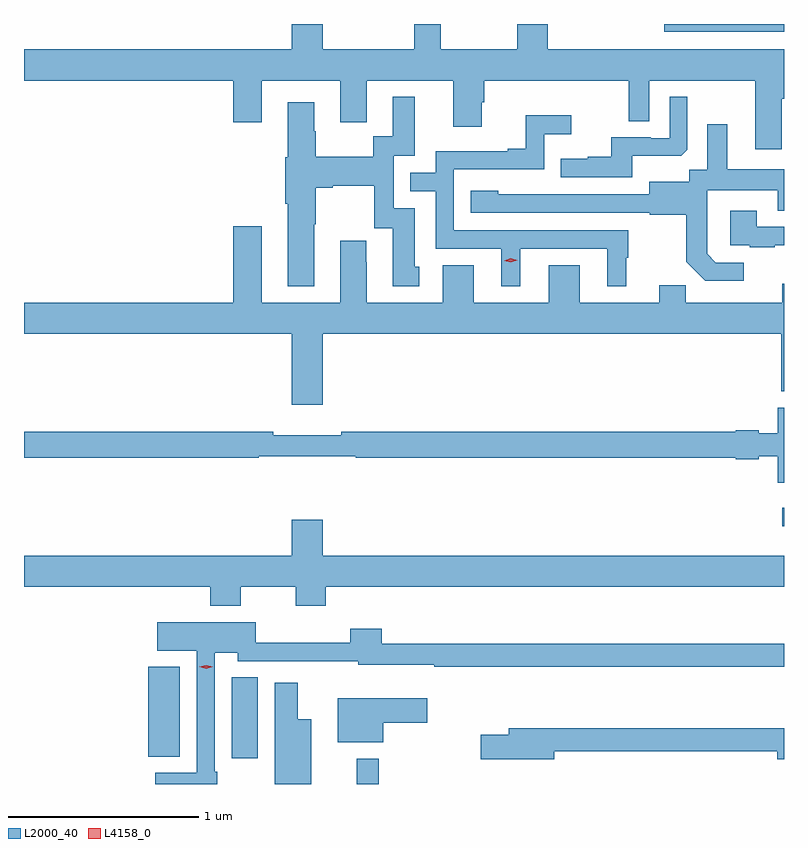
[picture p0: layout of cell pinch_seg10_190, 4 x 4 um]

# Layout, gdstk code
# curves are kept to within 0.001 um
import gdstk
lib = gdstk.Library(unit=1e-6, precision=1e-09)
def R(c, l, rs):  # rectangles x0, y0, x1, y1
    for r in rs: c.add(gdstk.rectangle(r[:2], r[2:], *l))
def P(c, l, *ps):  # polygons
    for p in ps: c.add(gdstk.Polygon(p, *l))
L2000_40 = (2000, 40)
L4158_0 = (4158, 0)

pinch_seg10_190 = lib.new_cell('pinch_seg10_190')
R(pinch_seg10_190, L2000_40, [(728.785,1255.322,728.903,1255.456), (728.129,1255.458,728.266,1255.883), (727.688,1255.465,727.855,1255.939), (731.025,1256.678,731.035,1256.776), (730.405,1259.28,731.035,1259.322)])
P(pinch_seg10_190, L2000_40, [(731.023,1258.928),(731.035,1258.928),(731.035,1259.188),(729.791,1259.188),(729.791,1259.322),(729.631,1259.322),(729.631,1259.188),(729.229,1259.188),(729.229,1259.322),(729.089,1259.322),(729.089,1259.188),(728.608,1259.188),(728.608,1259.322),(728.444,1259.322),(728.444,1259.188),(727.035,1259.188),(727.035,1259.024),(728.135,1259.024),(728.135,1258.806),(728.287,1258.806),(728.287,1259.024),(728.699,1259.024),(728.699,1258.806),(728.839,1258.806),(728.839,1259.024),(729.293,1259.024),(729.293,1258.782),(729.445,1258.782),(729.445,1258.911),(729.458,1258.911),(729.458,1259.024),(730.218,1259.024),(730.218,1258.81),(730.326,1258.81),(730.326,1259.024),(730.883,1259.024),(730.883,1258.662),(731.023,1258.662)],
  [(728.563,1258.267),(728.571,1258.267),(728.571,1258.46),(728.659,1258.46),(728.659,1258.472),(728.879,1258.472),(728.879,1258.248),(728.975,1258.248),(728.975,1257.942),(729.115,1257.942),(729.115,1258.044),(729.091,1258.044),(729.091,1258.353),(728.982,1258.353),(728.982,1258.629),(729.091,1258.629),(729.091,1258.939),(728.975,1258.939),(728.975,1258.73),(728.874,1258.73),(728.874,1258.624),(728.571,1258.624),(728.571,1258.758),(728.563,1258.758),(728.563,1258.909),(728.423,1258.909),(728.423,1258.62),(728.411,1258.62),(728.411,1258.376),(728.423,1258.376),(728.423,1257.941),(728.563,1257.941)],
  [(730.237,1258.628),(730.495,1258.628),(730.527,1258.659),(730.527,1258.939),(730.434,1258.939),(730.434,1258.722),(730.334,1258.722),(730.334,1258.725),(730.127,1258.725),(730.127,1258.624),(730.003,1258.624),(730.003,1258.612),(729.859,1258.612),(729.859,1258.515),(730.237,1258.515)],
  [(729.646,1258.14),(730.106,1258.14),(730.106,1257.941),(730.204,1257.941),(730.204,1258.092),(730.216,1258.092),(730.216,1258.236),(729.297,1258.236),(729.297,1258.557),(729.774,1258.557),(729.774,1258.742),(729.916,1258.742),(729.916,1258.841),(729.676,1258.841),(729.676,1258.666),(729.581,1258.666),(729.581,1258.653),(729.201,1258.653),(729.201,1258.539),(729.067,1258.539),(729.067,1258.443),(729.201,1258.443),(729.201,1258.14),(729.548,1258.14),(729.548,1257.941),(729.646,1257.941)],
  [(730.822,1258.065),(730.677,1258.065),(730.63,1258.112),(730.63,1258.207),(730.632,1258.207),(730.632,1258.448),(731.003,1258.448),(731.003,1258.339),(731.035,1258.339),(731.035,1258.558),(730.735,1258.558),(730.735,1258.795),(730.631,1258.795),(730.631,1258.556),(730.536,1258.556),(730.536,1258.492),(730.325,1258.492),(730.325,1258.425),(729.531,1258.426),(729.531,1258.444),(729.387,1258.444),(729.387,1258.329),(730.329,1258.329),(730.329,1258.317),(730.521,1258.317),(730.521,1258.071),(730.621,1257.971),(730.822,1257.971)],
  [(730.987,1258.157),(731.035,1258.157),(731.035,1258.254),(730.891,1258.254),(730.891,1258.339),(730.751,1258.339),(730.751,1258.158),(730.855,1258.158),(730.855,1258.146),(730.987,1258.146)],
  [(728.135,1258.258),(728.135,1257.856),(727.035,1257.856),(727.035,1257.692),(728.444,1257.692),(728.444,1257.318),(728.608,1257.318),(728.608,1257.692),(731.021,1257.692),(731.021,1257.388),(731.035,1257.388),(731.035,1257.955),(731.027,1257.955),(731.027,1257.856),(730.517,1257.856),(730.517,1257.947),(730.379,1257.947),(730.379,1257.856),(729.961,1257.856),(729.961,1258.051),(729.797,1258.051),(729.797,1257.856),(729.403,1257.856),(729.403,1258.051),(729.239,1258.051),(729.239,1257.856),(728.839,1257.856),(728.839,1258.067),(728.836,1258.067),(728.836,1258.18),(728.699,1258.18),(728.699,1257.856),(728.287,1257.856),(728.287,1258.258)],
  [(731.035,1257.303),(731.003,1257.303),(731.003,1257.169),(730.901,1257.169),(730.901,1257.184),(730.782,1257.184),(730.782,1257.176),(728.704,1257.176),(728.704,1257.157),(728.348,1257.157),(728.348,1257.176),(727.035,1257.176),(727.035,1257.04),(728.27,1257.04),(728.27,1257.048),(728.782,1257.048),(728.782,1257.04),(730.782,1257.04),(730.782,1257.032),(730.901,1257.032),(730.901,1257.047),(731.003,1257.047),(731.003,1256.907),(731.035,1256.907)],
  [(728.175,1256.36),(728.464,1256.36),(728.464,1256.261),(728.624,1256.261),(728.624,1256.36),(731.035,1256.36),(731.035,1256.524),(728.608,1256.524),(728.608,1256.713),(728.444,1256.713),(728.444,1256.524),(727.035,1256.524),(727.035,1256.36),(728.015,1256.36),(728.015,1256.261),(728.175,1256.261)],
  [(728.053,1255.387),(728.04,1255.387),(728.04,1256.012),(728.16,1256.012),(728.16,1255.968),(728.572,1255.968),(728.572,1255.967),(728.793,1255.967),(728.793,1255.949),(729.193,1255.949),(729.193,1255.938),(731.035,1255.938),(731.035,1256.059),(728.918,1256.059),(728.918,1256.14),(728.753,1256.14),(728.753,1256.066),(728.256,1256.066),(728.256,1256.173),(727.737,1256.173),(727.737,1256.024),(727.944,1256.024),(727.944,1255.38),(727.725,1255.38),(727.725,1255.322),(728.053,1255.322)],
  [(728.548,1255.663),(728.476,1255.663),(728.476,1255.855),(728.354,1255.855),(728.354,1255.322),(728.548,1255.322)],
  [(728.926,1255.645),(729.157,1255.645),(729.157,1255.774),(728.687,1255.774),(728.687,1255.541),(728.926,1255.541)],
  [(729.826,1255.494),(731,1255.494),(731,1255.451),(731.035,1255.451),(731.035,1255.615),(729.587,1255.615),(729.587,1255.581),(729.438,1255.581),(729.438,1255.451),(729.826,1255.451)])
P(pinch_seg10_190, L4158_0, [(727.993,1255.928),(727.958,1255.938),(727.958,1255.938),(727.958,1255.938),(727.993,1255.948),(728.028,1255.938),(728.028,1255.938),(728.028,1255.938)],
  [(729.597,1258.068),(729.562,1258.076),(729.561,1258.076),(729.562,1258.077),(729.597,1258.088),(729.632,1258.079),(729.632,1258.079),(729.632,1258.079)])

lib.write_gds('pinch_seg10_190.gds')
